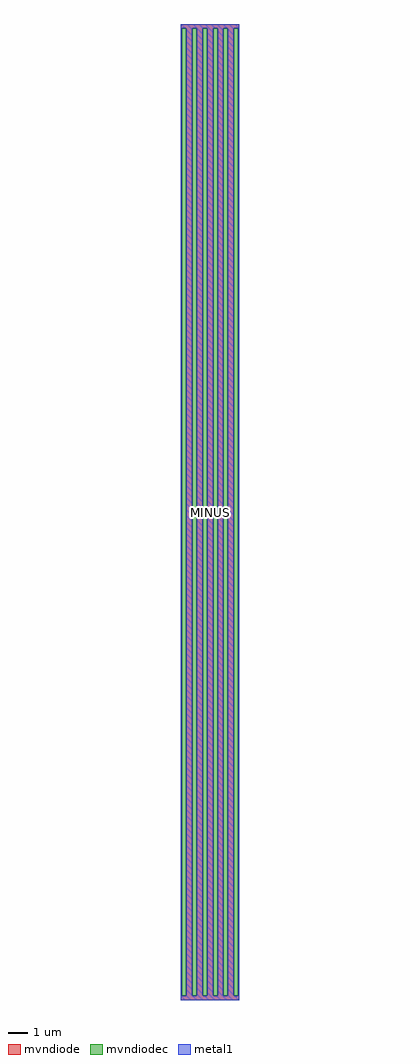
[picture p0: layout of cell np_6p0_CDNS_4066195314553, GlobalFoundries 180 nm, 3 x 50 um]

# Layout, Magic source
magic
tech gf180mcuD
magscale 1 10
<< mvndiode >>
rect 0 9958 600 10000
rect 0 42 13 9958
rect 59 42 119 9958
rect 165 42 225 9958
rect 271 42 331 9958
rect 377 42 436 9958
rect 482 42 541 9958
rect 587 42 600 9958
rect 0 0 600 42
<< mvndiodec >>
rect 13 42 59 9958
rect 119 42 165 9958
rect 225 42 271 9958
rect 331 42 377 9958
rect 436 42 482 9958
rect 541 42 587 9958
<< metal1 >>
rect 0 9958 600 10000
rect 0 42 13 9958
rect 59 42 119 9958
rect 165 42 225 9958
rect 271 42 331 9958
rect 377 42 436 9958
rect 482 42 541 9958
rect 587 42 600 9958
rect 0 0 600 42
<< labels >>
rlabel metal1 300 5000 300 5000 4 MINUS
<< end >>
